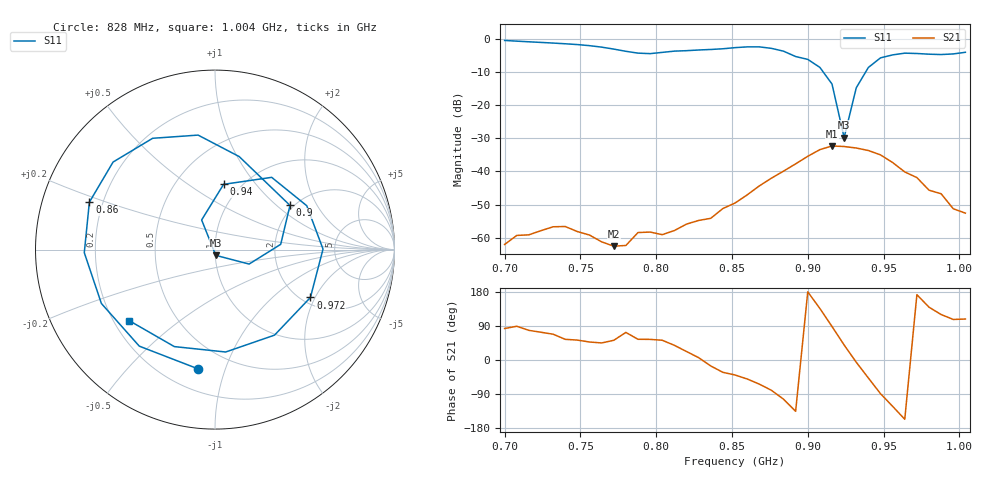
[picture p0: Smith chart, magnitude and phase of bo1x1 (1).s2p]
# Hz S RI R 50
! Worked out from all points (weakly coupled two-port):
!   39 points, 700 MHz to 1.004 GHz, reference 50 ohm
!   highest |S21| = -32.35 dB at 916 MHz (marker M1); lowest = -62.5 dB at 772 MHz (marker M2)
!   lowest |S11| = -29.8 dB at 924 MHz (marker M3), VSWR 1.07, Z = 50.3 - j3.23 ohm
!   |S11| at or under -10 dB: 910.1 MHz to 938.3 MHz (28.24 MHz wide, 3.06 % of centre)
!   S12 and S22 are empty: the file has one direction only
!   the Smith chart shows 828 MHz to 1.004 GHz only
!   S11 on the Smith chart (normalised r, x): 828 MHz: 0.34, -0.81; 860 MHz: 0.15, +0.18; 900 MHz: 1.91, +1.23; 940 MHz: 0.83, +0.70; 972 MHz: 2.22, -1.84; 1.004 GHz: 0.26, -0.34
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7e8  0.7481 0.5601  9.59e-05 0.000789  0 0  0 0
7.24e8  0.8404 -0.2367  0.00037 0.00123  0 0  0 0
7.4e8  0.4637 -0.6922  0.000859 0.00121  0 0  0 0
7.56e8  -0.1825 -0.7586  0.000744 0.000813  0 0  0 0
7.72e8  -0.6611 -0.207  0.000462 0.00059  0 0  0 0
7.88e8  -0.2577 0.5445  0.000695 0.00098  0 0  0 0
8.04e8  0.5875 0.1919  0.000685 0.000881  0 0  0 0
8.12e8  0.5841 -0.2752  0.001 0.000806  0 0  0 0
8.28e8  -0.0928 -0.6651  0.00182 0.000197  0 0  0 0
8.52e8  -0.7283 -0.0171  0.00258 -0.00212  0 0  0 0
8.6e8  -0.6999 0.2642  0.00284 -0.00339  0 0  0 0
8.84e8  -0.0942 0.6379  -0.00233 -0.00981  0 0  0 0
9e8  0.4178 0.2463  -0.0169 4.58e-05  0 0  0 0
9.08e8  0.3661 0.0294  -0.0153 0.0148  0 0  0 0
9.16e8  0.1899 -0.0806  0.000654 0.0241  0 0  0 0
9.24e8  0.00433 -0.0321  0.0182 0.0151  0 0  0 0
9.32e8  -0.0745 0.1652  0.0224 -0.00231  0 0  0 0
9.4e8  0.048 0.3637  0.0139 -0.0152  0 0  0 0
9.56e8  0.5112 0.2445  -0.00726 -0.0115  0 0  0 0
9.72e8  0.5316 -0.2667  -0.00799 0.00107  0 0  0 0
9.88e8  0.0593 -0.5706  -0.0023 0.00399  0 0  0 0
1.004e9  -0.4769 -0.3965  -0.000733 0.00224  0 0  0 0
